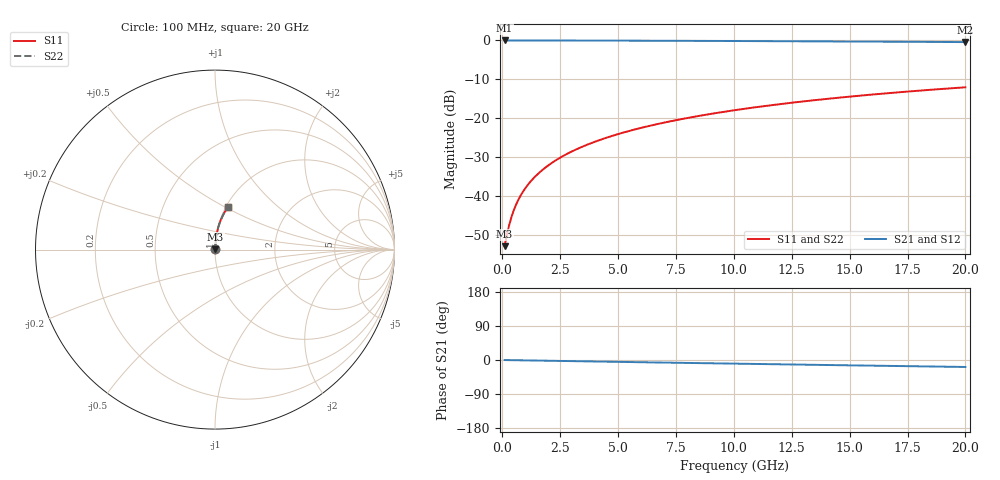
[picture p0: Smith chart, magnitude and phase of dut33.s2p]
! Touchstone file exported from HFSS 2024.1.0
!  File:  C:/UserFiles/LocalFiles/RDL_TSV_Batchsim/temp_RDL_bottom_33_1778692243.aedt
!  Generated:  01:13:27 AM May 14, 2026
!  Design:  RDL_bottom
!  Project:  temp_RDL_bottom_33_1778692243
!  Setup:  Setup1
!  Solution:  Sweep
! Variables:
!  dtsv = 10.80580581um
!  hbump = 3um
!  htsv = 77.41um
!  ldown = 171.48um
!  lrdl = 100um
!  p = 40
!  p1 = 56.68um
!  rhole = 1um
!  t = 450um
!  tdown = 2.75um
!  trdl = 3.915915916um
!  wdown = 13.06um
!  wrdl = 20um
# GHz S MA R 50.000000
! Terminal data exported
! Port[1] = RDL1_T1
! Port[2] = RDL1_T2
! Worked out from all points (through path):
!   200 points, 100 MHz to 20 GHz, reference 50 ohm
!   highest |S21| = -0.02 dB at 100 MHz (marker M1); lowest = -0.4 dB at 20 GHz (marker M2)
!   group delay of S21, straight-line fit = 2.55 ps
!   lowest |S11| = -52.7 dB at 100 MHz (marker M3), VSWR 1.00, Z = 50.2 + j0.13 ohm
!   |S11| at or under -10 dB: start of sweep to end of sweep
!   |S22| runs from -52.7 to -12.0 dB; largest |S21 - S12| = 3.3e-15
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0.1  0.002305 34.1  0.9981 -0.1  0.9981 -0.1  0.002305 34.1
! Gamma 0 0 0 0
! Port Impedance 50 0 50 0
0.2  0.00322 53.1  0.9981 -0.2  0.9981 -0.2  0.00322 53.1
0.3  0.004326 63.0  0.998 -0.3  0.998 -0.3  0.004326 63.0
0.4  0.0055 68.7  0.998 -0.4  0.998 -0.4  0.0055 68.7
0.5  0.006702 72.2  0.9979 -0.5  0.9979 -0.5  0.006702 72.2
0.6  0.007916 74.7  0.9979 -0.6  0.9979 -0.6  0.007916 74.7
0.8  0.01036 77.9  0.9978 -0.8  0.9978 -0.8  0.01036 77.9
1.1  0.01404 80.6  0.9976 -1.1  0.9976 -1.1  0.01404 80.6
1.5  0.01898 82.5  0.9974 -1.5  0.9974 -1.5  0.01898 82.5
1.8  0.0227 83.4  0.9971 -1.8  0.9971 -1.8  0.0227 83.4
2.1  0.02643 83.9  0.9969 -2.1  0.9969 -2.1  0.02643 83.9
2.7  0.03393 84.6  0.9963 -2.7  0.9963 -2.7  0.03393 84.6
3.5  0.04397 84.9  0.9954 -3.5  0.9954 -3.5  0.04397 84.9
4.2  0.05281 84.9  0.9944 -4.2  0.9944 -4.2  0.05281 84.9
5  0.06296 84.7  0.9931 -4.9  0.9931 -4.9  0.06296 84.7
5.9  0.07444 84.3  0.9914 -5.8  0.9914 -5.8  0.07443 84.3
6.8  0.08595 83.9  0.9896 -6.7  0.9896 -6.7  0.08595 83.9
8.3  0.1052 82.9  0.9862 -8.1  0.9862 -8.1  0.1052 82.9
10.1  0.1283 81.5  0.9818 -9.7  0.9818 -9.7  0.1283 81.5
13.4  0.1702 78.7  0.9726 -12.7  0.9726 -12.7  0.1702 78.7
16.7  0.2111 75.9  0.9622 -15.6  0.9622 -15.6  0.2111 75.9
20  0.2507 73.0  0.9509 -18.4  0.9509 -18.4  0.2507 73.0
